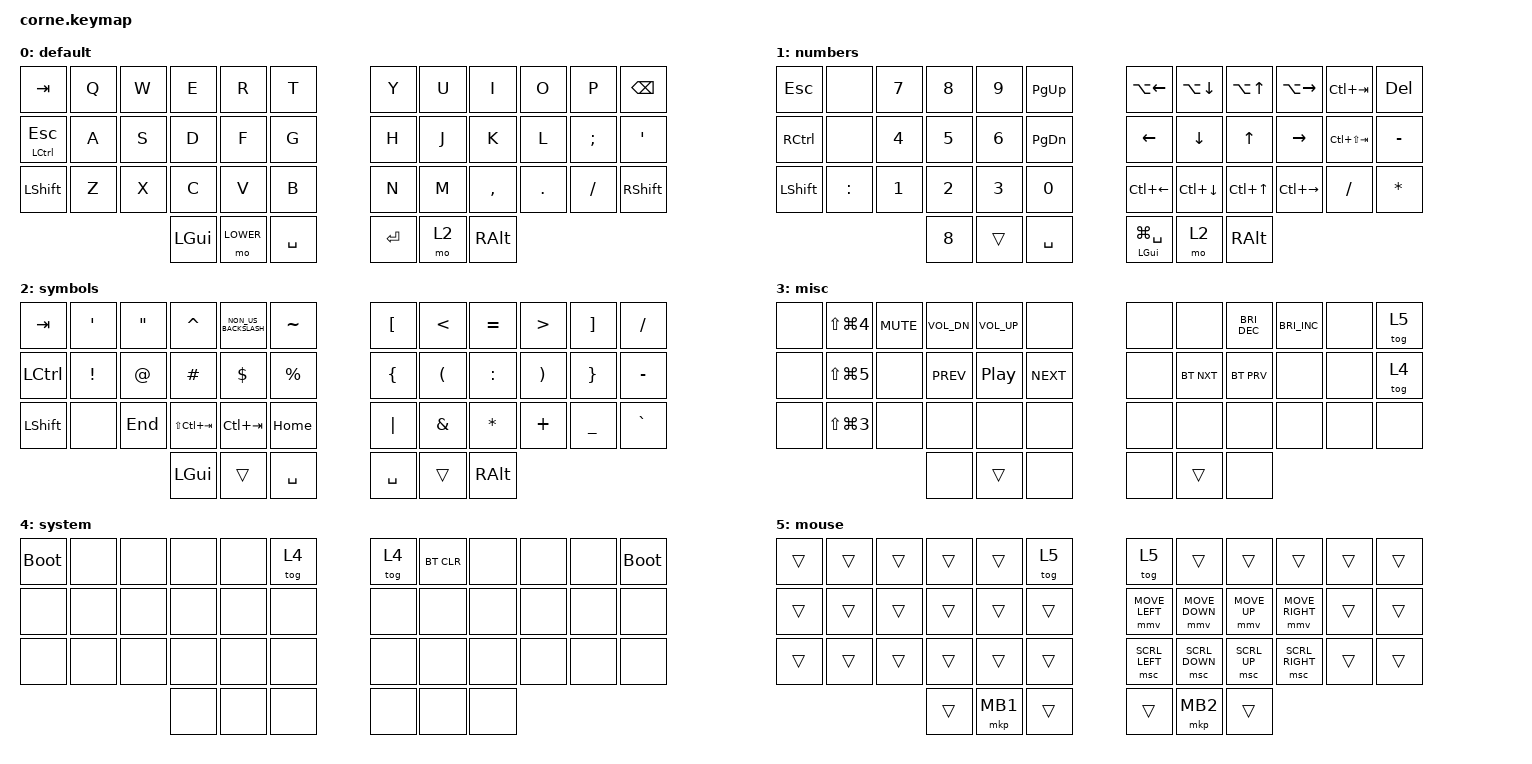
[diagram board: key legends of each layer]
/*
 * Copyright (c) 2020 Jonathan Rascher
 *
 * SPDX-License-Identifier: MIT
 */

#include <behaviors.dtsi>
#include <dt-bindings/zmk/bt.h>
#include <dt-bindings/zmk/keys.h>
#include <dt-bindings/zmk/pointing.h>

#define TAPPING_TERM 200
#define LOWER 1
#define RAISE 2
#define ADJUST 3
#define BACK C_AC_BACK
#define FWD C_AC_FORWARD
#define PAUSE PAUSE_BREAK
#define VOL_DN C_VOL_DN
#define VOL_UP C_VOL_UP
#define ZM_IN LC(EQUAL)
#define ZM_OUT LC(MINUS)
#define ZM_RST LC(N0)
#define BT0 BT_SEL 0
#define BT1 BT_SEL 1
#define BT2 BT_SEL 2
#define BT3 BT_SEL 3
#define BT4 BT_SEL 4
#define HYP LS(LC(LA(LGUI)))

/*
 *  Bindings taken from
 *   https://github.com/bcat/zmk-config/blob/master/config/corne.keymap
 *   https://github.com/rastasheep/zmk-config/blob/master/config/corne.keymap
*/
/* TODO: need to map FN keys */

&kscan0 { debounce-period = <10>; };

&mt {
    tapping-term-ms = <TAPPING_TERM>;
    flavor = "tap-preferred";
};

/ {
    behaviors {
        /*
        * td_lock groups locking functions into one key:
        *  - tap once to lock the host
        *  - tap twice to put the host to sleep
        */

        td_lock: tap_dance_lock {
            compatible = "zmk,behavior-tap-dance";
            label = "TAP_DANCE_LOCK";
            #binding-cells = <0>;
            tapping-term-ms = <TAPPING_TERM>;
            bindings = <&kp LG(LC(Q))>, <&kp LG(LA(C_EJECT))>;
        };
    };

    conditional_layers {
        compatible = "zmk,conditional-layers";

        tri_layer {
            if-layers = <LOWER RAISE>;
            then-layer = <ADJUST>;
        };
    };

    keymap {
        compatible = "zmk,keymap";

        default {
            bindings = <
&kp TAB                  &kp Q  &kp W  &kp E     &kp R      &kp T        &kp Y      &kp U  &kp I          &kp O    &kp P     &kp BACKSPACE
&mt LEFT_CONTROL ESCAPE  &kp A  &kp S  &kp D     &kp F      &kp G        &kp H      &kp J  &kp K          &kp L    &kp SEMI  &kp SQT
&kp LSHFT                &kp Z  &kp X  &kp C     &kp V      &kp B        &kp N      &kp M  &kp COMMA      &kp DOT  &kp FSLH  &kp RIGHT_SHIFT
                                       &kp LGUI  &mo LOWER  &kp SPACE    &kp ENTER  &mo 2  &kp RIGHT_ALT
            >;

            label = "default";
        };

        lower {
            bindings = <
&kp ESCAPE      &none      &kp N7        &kp N8        &kp N9        &kp PAGE_UP      &kp LA(LEFT_ARROW)      &kp LA(DOWN_ARROW)  &kp LA(UP_ARROW)  &kp LA(RIGHT)  &kp LC(TAB)      &kp DELETE
&kp RCTRL       &none      &kp NUMBER_4  &kp N5        &kp NUMBER_6  &kp PAGE_DOWN    &kp LEFT                &kp DOWN            &kp UP_ARROW      &kp RIGHT      &kp LC(LS(TAB))  &kp MINUS
&kp LEFT_SHIFT  &kp COLON  &kp NUMBER_1  &kp NUMBER_2  &kp NUMBER_3  &kp N0           &kp LC(LEFT)            &kp LC(DOWN)        &kp LC(UP_ARROW)  &kp LC(RIGHT)  &kp FSLH         &kp ASTERISK
                                         &kp N8        &trans        &kp SPACE        &mt LEFT_GUI LG(SPACE)  &mo 2               &kp RIGHT_ALT
            >;

            label = "numbers";
        };

        raise {
            bindings = <
&kp TAB         &kp SQT          &kp DOUBLE_QUOTES  &kp CARET        &kp NON_US_BACKSLASH  &kp TILDE      &kp LBKT        &kp LESS_THAN         &kp EQUAL      &kp GREATER_THAN       &kp RBKT         &kp FSLH
&kp LCTRL       &kp EXCLAMATION  &kp AT_SIGN        &kp HASH         &kp DOLLAR            &kp PERCENT    &kp LEFT_BRACE  &kp LEFT_PARENTHESIS  &kp COLON      &kp RIGHT_PARENTHESIS  &kp RIGHT_BRACE  &kp MINUS
&kp LEFT_SHIFT  &none            &kp END            &kp LS(LC(TAB))  &kp LC(TAB)           &kp HOME       &kp PIPE        &kp AMPERSAND         &kp ASTERISK   &kp PLUS               &kp UNDERSCORE   &kp GRAVE
                                                    &kp LEFT_GUI     &trans                &kp SPACE      &kp SPACE       &trans                &kp RIGHT_ALT
            >;

            label = "symbols";
        };

        adjust {
            bindings = <
&none  &kp LS(LG(NUMBER_4))  &kp C_MUTE  &kp C_VOL_DN  &kp C_VOL_UP      &none         &none  &none       &kp C_BRIGHTNESS_DEC  &kp C_BRIGHTNESS_INC  &none  &tog 5
&none  &kp LS(LG(N5))        &none       &kp C_PREV    &kp C_PLAY_PAUSE  &kp C_NEXT    &none  &bt BT_NXT  &bt BT_PRV            &none                 &none  &tog 4
&none  &kp LS(LG(NUMBER_3))  &none       &none         &none             &none         &none  &none       &none                 &none                 &none  &none
                                         &none         &trans            &none         &none  &trans      &none
            >;

            label = "misc";
        };

        system {
            bindings = <
&bootloader  &none  &none  &none  &none  &tog 4    &tog 4  &bt BT_CLR  &none  &none  &none  &bootloader
&none        &none  &none  &none  &none  &none     &none   &none       &none  &none  &none  &none
&none        &none  &none  &none  &none  &none     &none   &none       &none  &none  &none  &none
                           &none  &none  &none     &none   &none       &none
            >;

            label = "system";
        };

        mouse {
            bindings = <
&trans  &trans  &trans  &trans  &trans    &tog 5    &tog 5          &trans          &trans        &trans           &trans  &trans
&trans  &trans  &trans  &trans  &trans    &trans    &mmv MOVE_LEFT  &mmv MOVE_DOWN  &mmv MOVE_UP  &mmv MOVE_RIGHT  &trans  &trans
&trans  &trans  &trans  &trans  &trans    &trans    &msc SCRL_LEFT  &msc SCRL_DOWN  &msc SCRL_UP  &msc SCRL_RIGHT  &trans  &trans
                        &trans  &mkp MB1  &trans    &trans          &mkp MB2        &trans
            >;

            label = "mouse";
        };
    };
};
